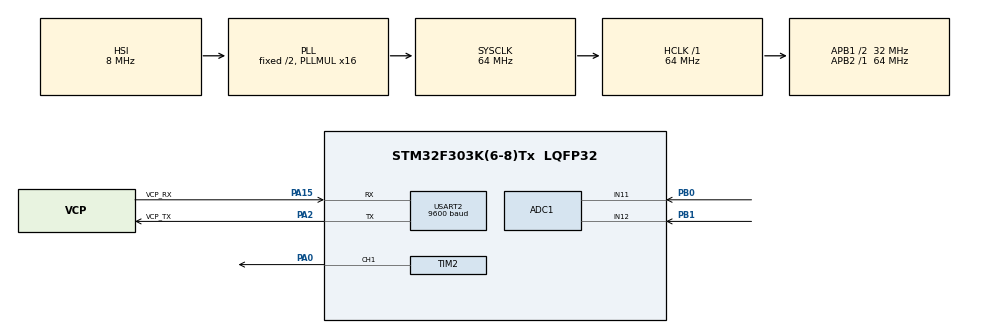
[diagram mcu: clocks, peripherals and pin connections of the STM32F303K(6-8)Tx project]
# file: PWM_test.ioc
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ADC1.Channel-0\#ChannelRegularConversion=ADC_CHANNEL_11
ADC1.Channel-1\#ChannelRegularConversion=ADC_CHANNEL_11
ADC1.ClockPrescaler=ADC_CLOCK_SYNC_PCLK_DIV1
ADC1.DMAContinuousRequests=ENABLE
ADC1.NbrOfConversion=2
ADC1.NbrOfConversionFlag=1
ADC1.Offset-0\#ChannelRegularConversion=0
ADC1.Offset-1\#ChannelRegularConversion=0
ADC1.OffsetNumber-0\#ChannelRegularConversion=ADC_OFFSET_NONE
ADC1.OffsetNumber-1\#ChannelRegularConversion=ADC_OFFSET_NONE
ADC1.Rank-0\#ChannelRegularConversion=1
ADC1.Rank-1\#ChannelRegularConversion=2
ADC1.SamplingTime-0\#ChannelRegularConversion=ADC_SAMPLETIME_1CYCLE_5
ADC1.SamplingTime-1\#ChannelRegularConversion=ADC_SAMPLETIME_1CYCLE_5
ADC1.SamplingTimeOPAMP-1\#ChannelRegularConversion=ADC_SAMPLETIME_61CYCLES_5
ADC1.SubFamily=STM32F303x8
ADC1.master=1
Dma.ADC1.0.Direction=DMA_PERIPH_TO_MEMORY
Dma.ADC1.0.Instance=DMA1_Channel1
Dma.ADC1.0.MemDataAlignment=DMA_MDATAALIGN_WORD
Dma.ADC1.0.MemInc=DMA_MINC_ENABLE
Dma.ADC1.0.Mode=DMA_CIRCULAR
Dma.ADC1.0.PeriphDataAlignment=DMA_PDATAALIGN_WORD
Dma.ADC1.0.PeriphInc=DMA_PINC_DISABLE
Dma.ADC1.0.Priority=DMA_PRIORITY_LOW
Dma.Request0=ADC1
Mcu.Family=STM32F3
Mcu.Name=STM32F303K(6-8)Tx
Mcu.Package=LQFP32
NVIC.DMA1_Channel1_IRQn=true\:0\:0\:false\:false\:true\:false\:true
NVIC.PriorityGroup=NVIC_PRIORITYGROUP_4
PA0.Signal=S_TIM2_CH1_ETR
PA13.GPIO_Label=SWDIO
PA13.Mode=Serial_Wire
PA13.Signal=SYS_JTMS-SWDIO
PA14.GPIO_Label=SWCLK
PA14.Mode=Serial_Wire
PA14.Signal=SYS_JTCK-SWCLK
PA15.GPIO_Label=VCP_RX
PA15.Mode=Asynchronous
PA15.Signal=USART2_RX
PA2.GPIO_Label=VCP_TX
PA2.Mode=Asynchronous
PA2.Signal=USART2_TX
PB0.Mode=IN11-Single-Ended
PB0.Signal=ADC1_IN11
PB1.Mode=IN12-Single-Ended
PB1.Signal=ADC1_IN12
PF0\ /\ OSC_IN.GPIO_Label=MCO
PF0\ /\ OSC_IN.Mode=HSE-External-Clock-Source
PF0\ /\ OSC_IN.Signal=RCC_OSC_IN
ProjectManager.HeapSize=0x200
ProjectManager.StackSize=0x400
ProjectManager.TargetToolchain=STM32CubeIDE
RCC.AHBFreq_Value=64000000
RCC.APB1CLKDivider=RCC_HCLK_DIV2
RCC.APB1Freq_Value=32000000
RCC.APB1TimFreq_Value=64000000
RCC.APB2Freq_Value=64000000
RCC.APB2TimFreq_Value=64000000
RCC.CortexFreq_Value=64000000
RCC.HCLKFreq_Value=64000000
RCC.HSE_VALUE=8000000
RCC.HSI_VALUE=8000000
RCC.PLLMUL=RCC_PLL_MUL16
RCC.SYSCLKFreq_VALUE=64000000
RCC.SYSCLKSourceVirtual=RCC_SYSCLKSOURCE_PLLCLK
SH.S_TIM2_CH1_ETR.0=TIM2_CH1,PWM Generation1 CH1
TIM1.CounterMode=TIM_COUNTERMODE_CENTERALIGNED1
TIM1.Period=1000
TIM1.Prescaler=0
TIM1.RepetitionCounter=1
TIM1.TIM_MasterOutputTrigger=TIM_TRGO_UPDATE
TIM2.Channel-PWM\ Generation1\ CH1=TIM_CHANNEL_1
TIM2.CounterMode=TIM_COUNTERMODE_CENTERALIGNED1
TIM2.Period=20-1
TIM2.Prescaler=32-1
TIM2.Pulse-PWM\ Generation1\ CH1=7
USART2.BaudRate=9600
USART2.VirtualMode-Asynchronous=VM_ASYNC
VP_TIM1_VS_ClockSourceINT.Mode=Internal
VP_TIM2_VS_ClockSourceINT.Mode=Internal
board=NUCLEO-F303K8

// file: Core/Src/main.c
/* USER CODE BEGIN Header */
/**
  ******************************************************************************
  * @file           : main.c
  * @brief          : Main program body
  ******************************************************************************
  * @attention
  *
  * Copyright (c) 2023 STMicroelectronics.
  * All rights reserved.
  *
  * This software is licensed under terms that can be found in the LICENSE file
  * in the root directory of this software component.
  * If no LICENSE file comes with this software, it is provided AS-IS.
  *
  ******************************************************************************
  */
/* USER CODE END Header */
#include "main.h"

/* USER CODE BEGIN Includes */
#include<stdio.h>
#include<string.h>
/* USER CODE END Includes */

/* USER CODE BEGIN PTD */
uint16_t raw;
char msg[20];
char msg2[15];

/* USER CODE END PTD */

ADC_HandleTypeDef hadc1;
DMA_HandleTypeDef hdma_adc1;

TIM_HandleTypeDef htim1;
TIM_HandleTypeDef htim2;

UART_HandleTypeDef huart2;

/* USER CODE BEGIN PV */

uint32_t ADC_Buff[2];
uint32_t adc_val_1;
uint32_t adc_val_2;
float current_1;
float voltage_1;

/* USER CODE END PV */

void SystemClock_Config(void);
static void MX_GPIO_Init(void);
static void MX_USART2_UART_Init(void);
static void MX_TIM1_Init(void);
static void MX_TIM2_Init(void);
static void MX_DMA_Init(void);
static void MX_ADC1_Init(void);

int main(void)
{

  /* MCU Configuration--------------------------------------------------------*/

  /* Reset of all peripherals, Initializes the Flash interface and the Systick. */
  HAL_Init();

  /* Configure the system clock */
  SystemClock_Config();

  /* Initialize all configured peripherals */
  MX_GPIO_Init();
  MX_USART2_UART_Init();
  MX_TIM1_Init();
  MX_TIM2_Init();
  MX_DMA_Init();
  MX_ADC1_Init();
  /* USER CODE BEGIN 2 */
  //hal_TIM_Base_Start(&htim3);
  HAL_TIM_Base_Start_IT(&htim2);
  HAL_TIM_PWM_Start(&htim2, TIM_CHANNEL_1);

   HAL_ADCEx_Calibration_Start(&hadc1, ADC_SINGLE_ENDED);
   HAL_ADC_Start_DMA(&hadc1, (uint32_t*)ADC_Buff, 2);

  /* USER CODE END 2 */

  /* Infinite loop */
  while (1)
  {

  }
}

void SystemClock_Config(void)
{
  RCC_OscInitTypeDef RCC_OscInitStruct = {0};
  RCC_ClkInitTypeDef RCC_ClkInitStruct = {0};
  RCC_PeriphCLKInitTypeDef PeriphClkInit = {0};

  /** Initializes the RCC Oscillators according to the specified parameters
  * in the RCC_OscInitTypeDef structure.
  */
  RCC_OscInitStruct.OscillatorType = RCC_OSCILLATORTYPE_HSI;
  RCC_OscInitStruct.HSIState = RCC_HSI_ON;
  RCC_OscInitStruct.HSICalibrationValue = RCC_HSICALIBRATION_DEFAULT;
  RCC_OscInitStruct.PLL.PLLState = RCC_PLL_ON;
  RCC_OscInitStruct.PLL.PLLSource = RCC_PLLSOURCE_HSI;
  RCC_OscInitStruct.PLL.PLLMUL = RCC_PLL_MUL16;
  if (HAL_RCC_OscConfig(&RCC_OscInitStruct) != HAL_OK)
  {
    Error_Handler();
  }
  /** Initializes the CPU, AHB and APB buses clocks
  */
  RCC_ClkInitStruct.ClockType = RCC_CLOCKTYPE_HCLK|RCC_CLOCKTYPE_SYSCLK
                              |RCC_CLOCKTYPE_PCLK1|RCC_CLOCKTYPE_PCLK2;
  RCC_ClkInitStruct.SYSCLKSource = RCC_SYSCLKSOURCE_PLLCLK;
  RCC_ClkInitStruct.AHBCLKDivider = RCC_SYSCLK_DIV1;
  RCC_ClkInitStruct.APB1CLKDivider = RCC_HCLK_DIV2;
  RCC_ClkInitStruct.APB2CLKDivider = RCC_HCLK_DIV1;

  if (HAL_RCC_ClockConfig(&RCC_ClkInitStruct, FLASH_LATENCY_2) != HAL_OK)
  {
    Error_Handler();
  }
  PeriphClkInit.PeriphClockSelection = RCC_PERIPHCLK_TIM1;
  PeriphClkInit.Tim1ClockSelection = RCC_TIM1CLK_HCLK;
  if (HAL_RCCEx_PeriphCLKConfig(&PeriphClkInit) != HAL_OK)
  {
    Error_Handler();
  }
}

static void MX_ADC1_Init(void)
{

  ADC_MultiModeTypeDef multimode = {0};
  ADC_ChannelConfTypeDef sConfig = {0};

  /** Common config
  */
  hadc1.Instance = ADC1;
  hadc1.Init.ClockPrescaler = ADC_CLOCK_SYNC_PCLK_DIV1;
  hadc1.Init.Resolution = ADC_RESOLUTION_12B;
  hadc1.Init.ScanConvMode = ADC_SCAN_ENABLE;
  hadc1.Init.ContinuousConvMode = DISABLE;
  hadc1.Init.DiscontinuousConvMode = DISABLE;
  hadc1.Init.ExternalTrigConvEdge = ADC_EXTERNALTRIGCONVEDGE_NONE;
  hadc1.Init.ExternalTrigConv = ADC_SOFTWARE_START;
  hadc1.Init.DataAlign = ADC_DATAALIGN_RIGHT;
  hadc1.Init.NbrOfConversion = 2;
  hadc1.Init.DMAContinuousRequests = ENABLE;
  hadc1.Init.EOCSelection = ADC_EOC_SINGLE_CONV;
  hadc1.Init.LowPowerAutoWait = DISABLE;
  hadc1.Init.Overrun = ADC_OVR_DATA_OVERWRITTEN;
  if (HAL_ADC_Init(&hadc1) != HAL_OK)
  {
    Error_Handler();
  }
  /** Configure the ADC multi-mode
  */
  multimode.Mode = ADC_MODE_INDEPENDENT;
  if (HAL_ADCEx_MultiModeConfigChannel(&hadc1, &multimode) != HAL_OK)
  {
    Error_Handler();
  }
  /** Configure Regular Channel
  */
  sConfig.Channel = ADC_CHANNEL_11;
  sConfig.Rank = ADC_REGULAR_RANK_1;
  sConfig.SingleDiff = ADC_SINGLE_ENDED;
  sConfig.SamplingTime = ADC_SAMPLETIME_1CYCLE_5;
  sConfig.OffsetNumber = ADC_OFFSET_NONE;
  sConfig.Offset = 0;
  if (HAL_ADC_ConfigChannel(&hadc1, &sConfig) != HAL_OK)
  {
    Error_Handler();
  }
  /** Configure Regular Channel
  */
  sConfig.Rank = ADC_REGULAR_RANK_2;
  if (HAL_ADC_ConfigChannel(&hadc1, &sConfig) != HAL_OK)
  {
    Error_Handler();
  }

}

static void MX_TIM1_Init(void)
{

  TIM_ClockConfigTypeDef sClockSourceConfig = {0};
  TIM_MasterConfigTypeDef sMasterConfig = {0};

  htim1.Instance = TIM1;
  htim1.Init.Prescaler = 0;
  htim1.Init.CounterMode = TIM_COUNTERMODE_CENTERALIGNED1;
  htim1.Init.Period = 1000;
  htim1.Init.ClockDivision = TIM_CLOCKDIVISION_DIV1;
  htim1.Init.RepetitionCounter = 1;
  htim1.Init.AutoReloadPreload = TIM_AUTORELOAD_PRELOAD_DISABLE;
  if (HAL_TIM_Base_Init(&htim1) != HAL_OK)
  {
    Error_Handler();
  }
  sClockSourceConfig.ClockSource = TIM_CLOCKSOURCE_INTERNAL;
  if (HAL_TIM_ConfigClockSource(&htim1, &sClockSourceConfig) != HAL_OK)
  {
    Error_Handler();
  }
  sMasterConfig.MasterOutputTrigger = TIM_TRGO_UPDATE;
  sMasterConfig.MasterOutputTrigger2 = TIM_TRGO2_RESET;
  sMasterConfig.MasterSlaveMode = TIM_MASTERSLAVEMODE_DISABLE;
  if (HAL_TIMEx_MasterConfigSynchronization(&htim1, &sMasterConfig) != HAL_OK)
  {
    Error_Handler();
  }

}

static void MX_TIM2_Init(void)
{

  TIM_ClockConfigTypeDef sClockSourceConfig = {0};
  TIM_MasterConfigTypeDef sMasterConfig = {0};
  TIM_OC_InitTypeDef sConfigOC = {0};

  htim2.Instance = TIM2;
  htim2.Init.Prescaler = 32-1;
  htim2.Init.CounterMode = TIM_COUNTERMODE_CENTERALIGNED1;
  htim2.Init.Period = 20-1;
  htim2.Init.ClockDivision = TIM_CLOCKDIVISION_DIV1;
  htim2.Init.AutoReloadPreload = TIM_AUTORELOAD_PRELOAD_DISABLE;
  if (HAL_TIM_Base_Init(&htim2) != HAL_OK)
  {
    Error_Handler();
  }
  sClockSourceConfig.ClockSource = TIM_CLOCKSOURCE_INTERNAL;
  if (HAL_TIM_ConfigClockSource(&htim2, &sClockSourceConfig) != HAL_OK)
  {
    Error_Handler();
  }
  if (HAL_TIM_PWM_Init(&htim2) != HAL_OK)
  {
    Error_Handler();
  }
  sMasterConfig.MasterOutputTrigger = TIM_TRGO_RESET;
  sMasterConfig.MasterSlaveMode = TIM_MASTERSLAVEMODE_DISABLE;
  if (HAL_TIMEx_MasterConfigSynchronization(&htim2, &sMasterConfig) != HAL_OK)
  {
    Error_Handler();
  }
  sConfigOC.OCMode = TIM_OCMODE_PWM1;
  sConfigOC.Pulse = 7;
  sConfigOC.OCPolarity = TIM_OCPOLARITY_HIGH;
  sConfigOC.OCFastMode = TIM_OCFAST_DISABLE;
  if (HAL_TIM_PWM_ConfigChannel(&htim2, &sConfigOC, TIM_CHANNEL_1) != HAL_OK)
  {
    Error_Handler();
  }
  HAL_TIM_MspPostInit(&htim2);

}

static void MX_USART2_UART_Init(void)
{

  huart2.Instance = USART2;
  huart2.Init.BaudRate = 9600;
  huart2.Init.WordLength = UART_WORDLENGTH_8B;
  huart2.Init.StopBits = UART_STOPBITS_1;
  huart2.Init.Parity = UART_PARITY_NONE;
  huart2.Init.Mode = UART_MODE_TX_RX;
  huart2.Init.HwFlowCtl = UART_HWCONTROL_NONE;
  huart2.Init.OverSampling = UART_OVERSAMPLING_16;
  huart2.Init.OneBitSampling = UART_ONE_BIT_SAMPLE_DISABLE;
  huart2.AdvancedInit.AdvFeatureInit = UART_ADVFEATURE_NO_INIT;
  if (HAL_UART_Init(&huart2) != HAL_OK)
  {
    Error_Handler();
  }

}

static void MX_DMA_Init(void)
{

  /* DMA controller clock enable */
  __HAL_RCC_DMA1_CLK_ENABLE();

  /* DMA interrupt init */
  /* DMA1_Channel1_IRQn interrupt configuration */
  HAL_NVIC_SetPriority(DMA1_Channel1_IRQn, 0, 0);
  HAL_NVIC_EnableIRQ(DMA1_Channel1_IRQn);

}

static void MX_GPIO_Init(void)
{

  /* GPIO Ports Clock Enable */
  __HAL_RCC_GPIOF_CLK_ENABLE();
  __HAL_RCC_GPIOA_CLK_ENABLE();
  __HAL_RCC_GPIOB_CLK_ENABLE();

}

/* USER CODE BEGIN 4 */

void HAL_ADC_ConvCpltCallback(ADC_HandleTypeDef* hadc)
{
	//prevent unused arguments compilation warning
	UNUSED(hadc);

	adc_val_1 = ADC_Buff[0];
		adc_val_2 = ADC_Buff[1];

	    voltage_1 = (((float)adc_val_1)/4095.0f)*3.3f;

		current_1 = (((float)adc_val_2)/4095.0f)*3.3f;

}

/* USER CODE END 4 */

void Error_Handler(void)
{
  __disable_irq();
  while (1)
  {
  }
}
